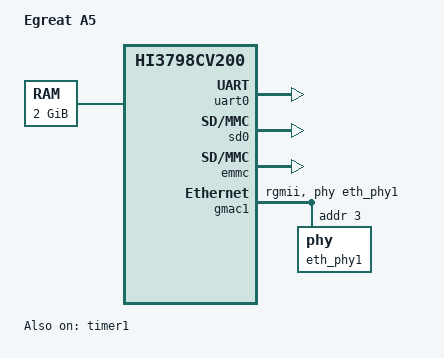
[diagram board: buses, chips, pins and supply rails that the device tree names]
/*
 * DTS File for HiSilicon Poplar Development Board
 *
 * Copyright (c) 2016-2017 HiSilicon Technologies Co., Ltd.
 *
 * Released under the GPLv2 only.
 * SPDX-License-Identifier: GPL-2.0
 */

/dts-v1/;
/memreserve/ 0x00000000 0x04080000;
/* reserved for bootloader */

#include "hi3798cv200.dtsi"

/ {
	model = "Egreat A5";
	compatible = "hisilicon,hi3798cv200-poplar", "hisilicon,hi3798cv200";

	chosen {
		stdout-path = "serial0:115200n8";
	};

	memory@0 {
		device_type = "memory";
		reg = <0x0 0x0 0x0 0x80000000>;
	};
};

&uart0 {
	status = "okay";
};

&timer1 {
        status = "okay";
};

&sd0 {
	status = "okay";
};

&emmc {
	status = "okay";
};

&gmac1 {
	status = "okay";
	#address-cells = <1>;
	#size-cells = <0>;
	phy-handle = <&eth_phy1>;
	phy-mode = "rgmii";
	hisilicon,phy-reset-delays-us = <10000 10000 30000>;

	eth_phy1: phy@3 {
		reg = <3>;
	};
};


